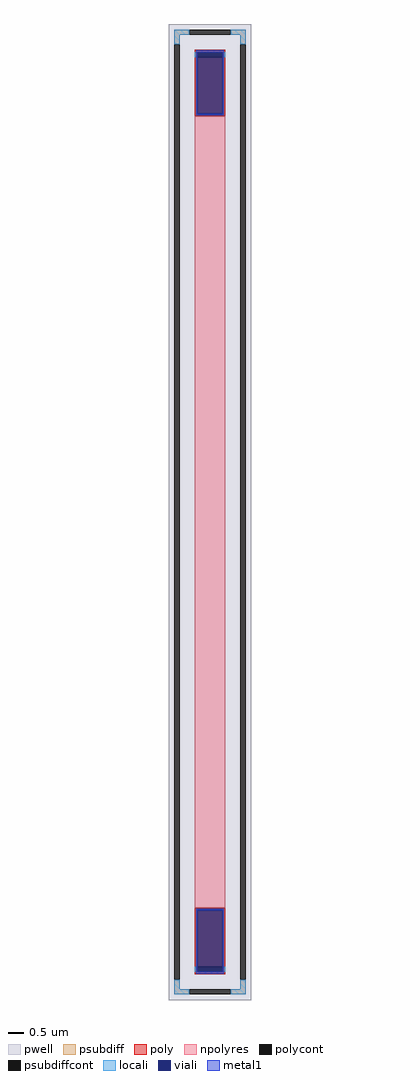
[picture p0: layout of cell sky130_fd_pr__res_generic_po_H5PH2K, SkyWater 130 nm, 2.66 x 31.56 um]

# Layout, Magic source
magic
tech sky130B
magscale 1 2
<< pwell >>
rect -266 -3156 266 3156
<< psubdiff >>
rect -230 3086 -134 3120
rect 134 3086 230 3120
rect -230 3024 -196 3086
rect 196 3024 230 3086
rect -230 -3086 -196 -3024
rect 196 -3086 230 -3024
rect -230 -3120 -134 -3086
rect 134 -3120 230 -3086
<< psubdiffcont >>
rect -134 3086 134 3120
rect -230 -3024 -196 3024
rect 196 -3024 230 3024
rect -134 -3120 134 -3086
<< poly >>
rect -100 2974 100 2990
rect -100 2940 -84 2974
rect 84 2940 100 2974
rect -100 2560 100 2940
rect -100 -2940 100 -2560
rect -100 -2974 -84 -2940
rect 84 -2974 100 -2940
rect -100 -2990 100 -2974
<< polycont >>
rect -84 2940 84 2974
rect -84 -2974 84 -2940
<< npolyres >>
rect -100 -2560 100 2560
<< locali >>
rect -230 3086 -134 3120
rect 134 3086 230 3120
rect -230 3024 -196 3086
rect 196 3024 230 3086
rect -100 2940 -84 2974
rect 84 2940 100 2974
rect -100 -2974 -84 -2940
rect 84 -2974 100 -2940
rect -230 -3086 -196 -3024
rect 196 -3086 230 -3024
rect -230 -3120 -134 -3086
rect 134 -3120 230 -3086
<< viali >>
rect -84 2940 84 2974
rect -84 2577 84 2940
rect -84 -2940 84 -2577
rect -84 -2974 84 -2940
<< metal1 >>
rect -90 2974 90 2986
rect -90 2577 -84 2974
rect 84 2577 90 2974
rect -90 2565 90 2577
rect -90 -2577 90 -2565
rect -90 -2974 -84 -2577
rect 84 -2974 90 -2577
rect -90 -2986 90 -2974
<< properties >>
string FIXED_BBOX -213 -3103 213 3103
string gencell sky130_fd_pr__res_generic_po
string library sky130
string parameters w 1 l 25.6 m 1 nx 1 wmin 0.330 lmin 1.650 class resistor rho 48.2 val 1.233k dummy 0 dw 0.0 term 0.0 sterm 0.0 caplen 0.4 snake 0 guard 1 glc 1 grc 1 gtc 1 gbc 1 roverlap 0 endcov 100 full_metal 1 hv_guard 0 n_guard 0 vias 1 viagb 0 viagt 0 viagl 0 viagr 0
<< end >>
